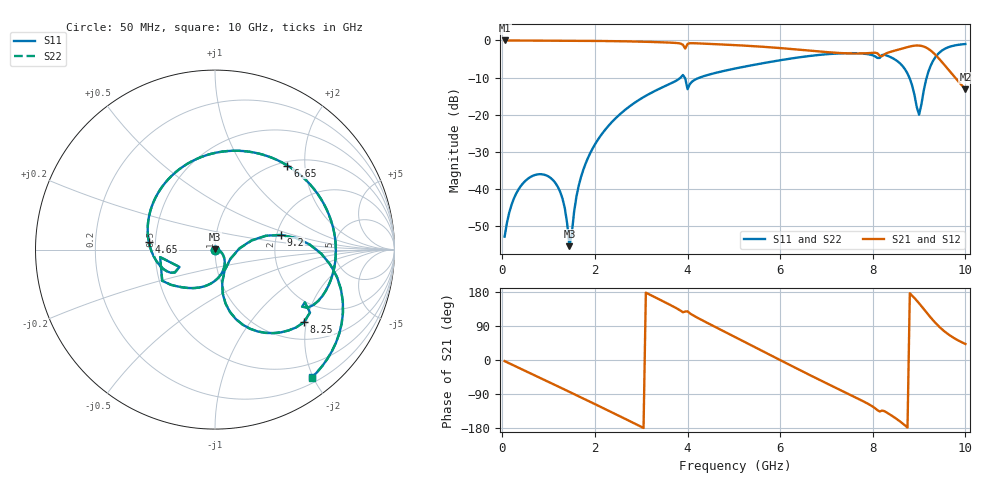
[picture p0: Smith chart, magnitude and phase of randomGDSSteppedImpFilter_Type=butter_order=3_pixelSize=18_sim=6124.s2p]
! freq	dB(S11)	phase(S11)	dB(S12)	phase(S12)
!  dB(S21)	phase(S21)	dB(S22)	phase(S22)
!S-par simulation data
#  GHz  S  DB  R 50
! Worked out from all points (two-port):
!   200 points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, 50 MHz to 10 GHz, reference 50 ohm
!   highest |S21| = -0.01 dB at 50 MHz (marker M1); lowest = -13.2 dB at 10 GHz (marker M2)
!   |S21| within 3 dB of the highest: start of sweep to 6.87 GHz; 8.401 GHz to 9.277 GHz (876.1 MHz wide, 9.91 % of centre)
!   lowest |S11| = -55.5 dB at 1.45 GHz (marker M3), VSWR 1.00, Z = 49.9 + j0.146 ohm
!   |S11| at or under -10 dB: start of sweep to 3.852 GHz; 3.938 GHz to 4.267 GHz (329.2 MHz wide, 8.02 % of centre); 8.789 GHz to 9.165 GHz (376.2 MHz wide, 4.19 % of centre)
!   |S22| runs from -55.4 to -1.0 dB; largest |S21 - S12| = 0
!   S11 on the Smith chart (normalised r, x): 50 MHz: 1.00, -0.00; 4.65 GHz: 0.46, +0.04; 6.65 GHz: 1.07, +1.63; 8.25 GHz: 1.41, -1.93; 9.2 GHz: 2.11, +0.40; 10 GHz: 0.28, -1.98
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0.05  -52.91 -61.6  -0.01 -3.0  -0.01 -3.0  -52.91 -61.7
0.35  -40.17 -106.7  -0.03 -20.3  -0.03 -20.3  -40.16 -106.7
0.85  -36.08 -141.5  -0.06 -49.2  -0.06 -49.2  -36.08 -141.5
1.25  -40.83 -169.8  -0.08 -72.4  -0.08 -72.4  -40.83 -169.8
1.45  -55.47 119.7  -0.09 -84.1  -0.09 -84.1  -55.43 119.7
1.75  -34.85 -7.1  -0.12 -101.6  -0.12 -101.6  -34.85 -7.0
2.65  -18.74 -64.9  -0.24 -155.1  -0.24 -155.1  -18.74 -64.8
3.4  -12.98 -110.8  -0.49 159.4  -0.49 159.4  -12.98 -110.8
4.15  -10.66 -155.5  -0.77 115.7  -0.77 115.7  -10.66 -155.4
4.65  -8.62 173.5  -1.04 84.1  -1.04 84.1  -8.62 173.6
5.05  -7.52 148.6  -1.28 59.2  -1.28 59.2  -7.52 148.7
5.85  -5.66 98.5  -1.92 9.2  -1.92 9.2  -5.66 98.6
6.65  -4.18 49.3  -2.77 -40.3  -2.77 -40.3  -4.18 49.3
6.7  -4.10 46.3  -2.83 -43.4  -2.83 -43.4  -4.10 46.3
7.45  -3.44 2.5  -3.49 -88.1  -3.49 -88.1  -3.44 2.5
8.25  -3.88 -39.3  -3.76 -135.0  -3.76 -135.0  -3.88 -39.3
8.35  -4.32 -47.8  -3.21 -142.2  -3.21 -142.2  -4.32 -47.8
8.75  -8.92 -76.5  -1.79 -178.3  -1.79 -178.3  -8.92 -76.4
9  -20.02 -30.0  -1.39 149.7  -1.39 149.7  -19.93 -30.1
9.2  -8.48 12.6  -2.28 119.5  -2.28 119.5  -8.47 12.4
9.55  -2.30 -21.9  -6.64 75.3  -6.64 75.3  -2.30 -22.0
10  -0.97 -52.8  -13.20 42.3  -13.20 42.3  -0.97 -52.9
